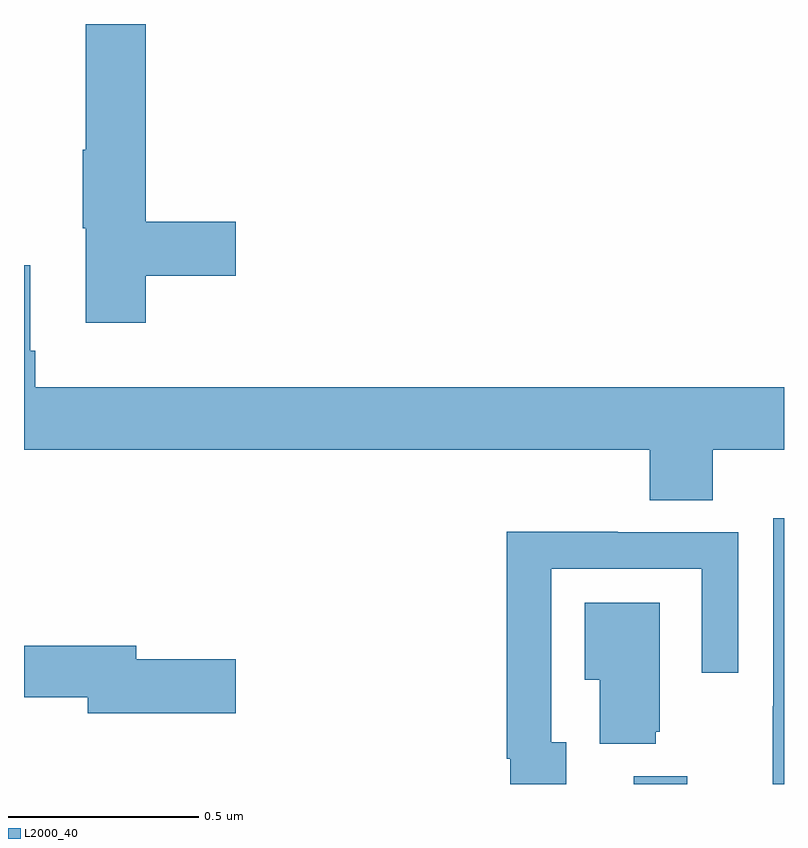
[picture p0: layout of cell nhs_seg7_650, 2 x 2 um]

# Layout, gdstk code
import gdstk
lib = gdstk.Library(unit=1e-6, precision=1e-09)
def R(c, l, rs):  # rectangles x0, y0, x1, y1
    for r in rs: c.add(gdstk.rectangle(r[:2], r[2:], *l))
def P(c, l, *ps):  # polygons
    for p in ps: c.add(gdstk.Polygon(p, *l))
L2000_40 = (2000, 40)

nhs_seg7_650 = lib.new_cell('nhs_seg7_650')
R(nhs_seg7_650, L2000_40, [(120.605,1069,120.745,1069.021)])
P(nhs_seg7_650, L2000_40, [(119.321,1070.338),(119.557,1070.338),(119.557,1070.48),(119.321,1070.48),(119.321,1071),(119.162,1071),(119.162,1070.669),(119.155,1070.669),(119.155,1070.463),(119.162,1070.463),(119.162,1070.214),(119.321,1070.214)],
  [(120.812,1069.88),(121,1069.88),(121,1070.044),(119.03,1070.044),(119.03,1070.14),(119.017,1070.14),(119.017,1070.365),(119,1070.365),(119,1069.88),(120.647,1069.88),(120.647,1069.747),(120.812,1069.747)],
  [(121,1069.699),(120.972,1069.699),(120.972,1069.205),(120.97,1069.205),(120.97,1069),(121,1069)],
  [(120.427,1069.11),(120.387,1069.11),(120.387,1069.566),(120.783,1069.566),(120.783,1069.293),(120.879,1069.293),(120.879,1069.662),(120.563,1069.662),(120.563,1069.664),(120.271,1069.664),(120.271,1069.066),(120.279,1069.066),(120.279,1069),(120.427,1069)],
  [(120.662,1069.137),(120.673,1069.137),(120.673,1069.477),(120.476,1069.477),(120.476,1069.274),(120.515,1069.274),(120.515,1069.106),(120.662,1069.106)],
  [(119.557,1069.328),(119.296,1069.328),(119.296,1069.364),(119,1069.364),(119,1069.228),(119.168,1069.228),(119.168,1069.186),(119.557,1069.186)])

lib.write_gds('nhs_seg7_650.gds')
